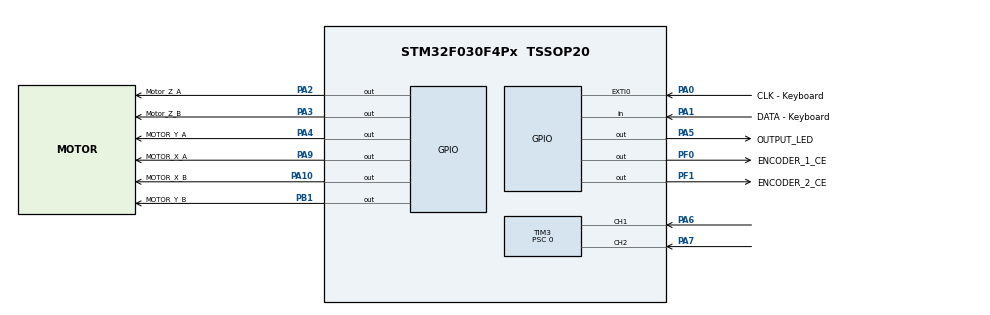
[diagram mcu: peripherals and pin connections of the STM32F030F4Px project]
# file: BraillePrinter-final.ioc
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Mcu.Family=STM32F0
Mcu.Name=STM32F030F4Px
Mcu.Package=TSSOP20
NVIC.EXTI0_1_IRQn=true\:0\:0\:false\:false\:true\:true
PA0.GPIO_Label=CLK - Keyboard
PA0.Signal=GPXTI0
PA1.GPIO_Label=DATA - Keyboard
PA1.Signal=GPIO_Input
PA10.GPIO_Label=MOTOR_X_B
PA10.Signal=GPIO_Output
PA13.Mode=Serial_Wire
PA13.Signal=SYS_SWDIO
PA14.Mode=Serial_Wire
PA14.Signal=SYS_SWCLK
PA2.GPIO_Label=Motor_Z_A
PA2.Signal=GPIO_Output
PA3.GPIO_Label=Motor_Z_B
PA3.Signal=GPIO_Output
PA4.GPIO_Label=MOTOR_Y_A
PA4.Signal=GPIO_Output
PA5.GPIO_Label=OUTPUT_LED
PA5.Signal=GPIO_Output
PA6.Signal=S_TIM3_CH1
PA7.Signal=S_TIM3_CH2
PA9.GPIO_Label=MOTOR_X_A
PA9.Signal=GPIO_Output
PB1.GPIO_Label=MOTOR_Y_B
PB1.Signal=GPIO_Output
PF0-OSC_IN.GPIO_Label=ENCODER_1_CE
PF0-OSC_IN.Signal=GPIO_Output
PF1-OSC_OUT.GPIO_Label=ENCODER_2_CE
PF1-OSC_OUT.Signal=GPIO_Output
ProjectManager.HeapSize=0x200
ProjectManager.StackSize=0x400
ProjectManager.TargetToolchain=TrueSTUDIO
SH.S_TIM3_CH1.0=TIM3_CH1,Encoder_Interface
SH.S_TIM3_CH2.0=TIM3_CH2,Encoder_Interface
TIM3.EncoderMode=TIM_ENCODERMODE_TI2
TIM3.IC1Filter=10
TIM3.IC1Polarity=TIM_ICPOLARITY_FALLING
TIM3.IC2Filter=10
TIM3.IC2Polarity=TIM_ICPOLARITY_FALLING
TIM3.Period=65535
TIM3.Prescaler=0
board=custom

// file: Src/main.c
/**
  ******************************************************************************
  * @file           : main.c
  * @brief          : Main program body
  ******************************************************************************
  ** This notice applies to any and all portions of this file
  * that are not between comment pairs USER CODE BEGIN and
  * USER CODE END. Other portions of this file, whether
  * inserted by the user or by software development tools
  * are owned by their respective copyright owners.
  *
  * COPYRIGHT(c) 2018 STMicroelectronics
  *
  * Redistribution and use in source and binary forms, with or without modification,
  * are permitted provided that the following conditions are met:
  *   1. Redistributions of source code must retain the above copyright notice,
  *      this list of conditions and the following disclaimer.
  *   2. Redistributions in binary form must reproduce the above copyright notice,
  *      this list of conditions and the following disclaimer in the documentation
  *      and/or other materials provided with the distribution.
  *   3. Neither the name of STMicroelectronics nor the names of its contributors
  *      may be used to endorse or promote products derived from this software
  *      without specific prior written permission.
  *
  * THIS SOFTWARE IS PROVIDED BY THE COPYRIGHT HOLDERS AND CONTRIBUTORS "AS IS"
  * AND ANY EXPRESS OR IMPLIED WARRANTIES, INCLUDING, BUT NOT LIMITED TO, THE
  * IMPLIED WARRANTIES OF MERCHANTABILITY AND FITNESS FOR A PARTICULAR PURPOSE ARE
  * DISCLAIMED. IN NO EVENT SHALL THE COPYRIGHT HOLDER OR CONTRIBUTORS BE LIABLE
  * FOR ANY DIRECT, INDIRECT, INCIDENTAL, SPECIAL, EXEMPLARY, OR CONSEQUENTIAL
  * DAMAGES (INCLUDING, BUT NOT LIMITED TO, PROCUREMENT OF SUBSTITUTE GOODS OR
  * SERVICES; LOSS OF USE, DATA, OR PROFITS; OR BUSINESS INTERRUPTION) HOWEVER
  * CAUSED AND ON ANY THEORY OF LIABILITY, WHETHER IN CONTRACT, STRICT LIABILITY,
  * OR TORT (INCLUDING NEGLIGENCE OR OTHERWISE) ARISING IN ANY WAY OUT OF THE USE
  * OF THIS SOFTWARE, EVEN IF ADVISED OF THE POSSIBILITY OF SUCH DAMAGE.
  *
  ******************************************************************************
  */
#include "main.h"
#include "stm32f0xx_hal.h"
#include "tim.h"
#include "gpio.h"

/* USER CODE BEGIN Includes */
#include "PS2Keyboard.h"
#include "brailleMatrix.h"
#include "DCMotors.h"
/* USER CODE END Includes */

/* USER CODE BEGIN PV */
/* Private variables ---------------------------------------------------------*/
#define MAX_CARACTERES 30
#define MAX_LINHAS 27
#define POS_INI 28000
#define POS_FIM 4000

char pressedEnter = 1;
char isEnd = 0;

Keyboard_TypeDef keyboard;

MotorControl_t motorX;
MotorControl_t motorY;

MotorControl_Simple_t motorZ;

unsigned char buffer_char[MAX_CARACTERES];
unsigned char buffer_braille[4];
/* USER CODE END PV */

void SystemClock_Config(void);

/* USER CODE BEGIN PFP */
/* Private function prototypes -----------------------------------------------*/
void interruption();
/* USER CODE END PFP */

/* USER CODE BEGIN 0 */
void interruption(){
	ps2interrupt(&keyboard);
}
/* USER CODE END 0 */

int main(void)
{

  /* MCU Configuration----------------------------------------------------------*/

  /* Reset of all peripherals, Initializes the Flash interface and the Systick. */
  HAL_Init();

  /* Configure the system clock */
  SystemClock_Config();

  /* Initialize all configured peripherals */
  MX_GPIO_Init();
  MX_TIM3_Init();
  /* USER CODE BEGIN 2 */
	HAL_TIM_Encoder_Start(&htim3, TIM_CHANNEL_ALL);

	motorBegin(&motorX, ENCODER_1_CE_GPIO_Port, ENCODER_1_CE_Pin, MOTOR_X_A_GPIO_Port, MOTOR_X_A_Pin, MOTOR_X_B_GPIO_Port, MOTOR_X_B_Pin);
	motorBegin(&motorY, ENCODER_1_CE_GPIO_Port, ENCODER_1_CE_Pin, MOTOR_Y_A_GPIO_Port, MOTOR_Y_A_Pin, MOTOR_Y_B_GPIO_Port, MOTOR_Y_B_Pin);

	motorSimpleBegin(&motorZ, Motor_Z_A_GPIO_Port, Motor_Z_A_Pin, Motor_Z_B_GPIO_Port, Motor_Z_B_Pin);

	keyboardBegin(&keyboard, PS2_DATA_PORT, PS2_DATA_PIN, PS2_IQR_PORT, PS2_IQR_PIN);
//	memset(buffer_char, 'o', sizeof(buffer_char));
//	buffer_char[MAX_CARACTERES - 1] = 0;

  /* USER CODE END 2 */

  /* Infinite loop */
  /* USER CODE BEGIN WHILE */
	while (1)
	{

		// ATENÇÂO
		// 1. Verificar se as conexões estão certas
		// 2. Vericiar se o encoder tá ligando na greenpill
		// 3. Entender para que lado rodar o motor para incrementar o contador no timer
		// 4. Entender para que lado rodar o motor para decrementar o contador no timer
		// 5. Se voltar a funcionar, descobrir DELTA_CHAR_V
		// 6. Separar DELTA_COL_LIN em DELTA_COL e DELTA_LIN, DELTA_COL é o atual DELTA_COL_LIN
		// 7. Descobrir DELTA_LIN
		// 8. Se quiser que o motor desça e ele ta subindo com -> updateAxis(&motorY, motorY.setPoint - DELTA_COL_LIN); Altera o sinal e vice-versa
		// 9. Descobrir quantos caracteres cabem na linha, determinando o numero máximo de linhas.
		// 10. Testar se tudo funciona junto
		// 11. FIM
		// Pode se basear a quantidade de fitas necessárias para encontrar DELTA_CHAR_V, DELTA_LIN, incrementando um valor fixo até chegar no fim da folha
		// Verificar o tanto em centímetros percorridos e fazer regra de três.
		// No eixo x, temos 25,5 cm para usar para imprimir. Fiz incrementos de 100 em 100 e obtive 30 incremento de 100, então
		//  25,5 cm ------ 30 * 100 fitas
		//    x cm  ------    x fitas necessárias, onde x é a distância que se deseja obter
		// Depois são ajustes para melhorar os espaçamentos
		// Verificar cuidadosamente se no eixo y não ta acontecendo overflow, o que eu acho que vai acontecer.

  /* USER CODE END WHILE */

  /* USER CODE BEGIN 3 */
		/* Faz a leitura do teclado e envia ao buffer_char */
		while(1){
			if(keyboardAvailable(&keyboard)){
				HAL_GPIO_WritePin(GPIOA, GPIO_PIN_5, GPIO_PIN_SET);
				HAL_Delay(50);
				HAL_GPIO_WritePin(GPIOA, GPIO_PIN_5, GPIO_PIN_RESET);
				uint8_t c = keyboardRead(&keyboard);
				if(c == PS2_ENTER){
					pressedEnter = 1;
					HAL_GPIO_WritePin(GPIOA, GPIO_PIN_5, GPIO_PIN_SET);
					break;
				}else if(c == PS2_DOWNARROW){
					updateAxis_Simple(&motorY, 50, DOWN);
				}else if(c == PS2_UPARROW){
					updateAxis_Simple(&motorY, 50, UP);
				}else if(c == PS2_BACKSPACE){
					clearBuffer(buffer_char);
				}else{

					feedBuffer(buffer_char, MAX_CARACTERES, c);
				}
				keyboardClear(&keyboard);
			}
		}
		/* Programa leitura do teclado */
		if(pressedEnter){
			//reverse(buffer_char);
			uint32_t length = strlen((const char*)buffer_char);
			for(int j=0;j<3;j++){
				//Imprime as linhas em braille
				if(j==1){
					//Linhas das matrizes
					for(int8_t i=length-1; i>=0; --i){

						// Recebe os pontos da linha para o caractere atual
						fillLineWithBraille(buffer_braille, j,buffer_char[i]);

						// Percorre os 4 bits, no máximo, para cada caractere
						for(int8_t x = 0; x < 2; ++x){

							// Passa para a próxima iteração se não tem ponto para furar
							if(buffer_braille[x] == '1'){
								pierce(&motorZ, PIERCE_TIME);
							}

							if(x != 1){
								updateAxis(&motorX, motorX.setPoint - DELTA_COL_LIN);
							}

							// Incrementa posição do eixo x, espaçamento entre colunas

						}

						// Incrementa posição do eixo x, espaçamento entre char na horizontal
						if(i != 0){
							updateAxis(&motorX, motorX.setPoint - DELTA_CHAR_H);
						}

					}

					// Decrementa posição do eixo y, espaçamento entre linhas
					//updateAxis(&motorY, motorY.setPoint - DELTA_COL_LIN);
					updateAxis_Simple(&motorY, NEXT_LINE, UP);
				}else{

					//Linhas das matrizes
					for(int8_t i=0; i<length; i++){

						//Recebe os pontos da linha para o caractere atual
						fillLineWithBraille(buffer_braille, j,buffer_char[i]);

						//Percorre os 4 bits, no máximo, para cada caractere
						for(int8_t x = 1; x >= 0; --x){

							if(buffer_braille[x] == '1'){
								pierce(&motorZ, PIERCE_TIME);
							}

							// Incrementa posição do eixo x, espaçamento entre colunas
							if(x != 0){
								updateAxis(&motorX, motorX.setPoint + DELTA_COL_LIN);
							}

						}

						// Incrementa posição do eixo x, espaçamento entre char na horizontal
						if(i != (length -1)){
							updateAxis(&motorX, motorX.setPoint + DELTA_CHAR_H);
						}

					}

					// Incrementa posição do eixo y, espaçamento entre linhas
					updateAxis_Simple(&motorY, NEXT_LINE, UP);
				}
			}

			// Incrementa posição do eixo y, espaçamento entre char na vertical
			//updateAxis(&motorY, motorY.setPoint + DELTA_CHAR_V - DELTA_COL_LIN);
			updateAxis_Simple(&motorY, NEXT_CHAR, UP);
			// Seta posição eixo x para inicial
			updateAxis(&motorX, POS_INI);

			pressedEnter = 0;
		}
		HAL_GPIO_WritePin(GPIOA, GPIO_PIN_5, GPIO_PIN_RESET);
		keyboardClear(&keyboard);
		clearBuffer(buffer_char);

	}
  /* USER CODE END 3 */

}

void SystemClock_Config(void)
{

  RCC_OscInitTypeDef RCC_OscInitStruct;
  RCC_ClkInitTypeDef RCC_ClkInitStruct;

    /**Initializes the CPU, AHB and APB busses clocks
    */
  RCC_OscInitStruct.OscillatorType = RCC_OSCILLATORTYPE_HSI;
  RCC_OscInitStruct.HSIState = RCC_HSI_ON;
  RCC_OscInitStruct.HSICalibrationValue = 16;
  RCC_OscInitStruct.PLL.PLLState = RCC_PLL_NONE;
  if (HAL_RCC_OscConfig(&RCC_OscInitStruct) != HAL_OK)
  {
    _Error_Handler(__FILE__, __LINE__);
  }

    /**Initializes the CPU, AHB and APB busses clocks
    */
  RCC_ClkInitStruct.ClockType = RCC_CLOCKTYPE_HCLK|RCC_CLOCKTYPE_SYSCLK
                              |RCC_CLOCKTYPE_PCLK1;
  RCC_ClkInitStruct.SYSCLKSource = RCC_SYSCLKSOURCE_HSI;
  RCC_ClkInitStruct.AHBCLKDivider = RCC_SYSCLK_DIV1;
  RCC_ClkInitStruct.APB1CLKDivider = RCC_HCLK_DIV1;

  if (HAL_RCC_ClockConfig(&RCC_ClkInitStruct, FLASH_LATENCY_0) != HAL_OK)
  {
    _Error_Handler(__FILE__, __LINE__);
  }

    /**Configure the Systick interrupt time
    */
  HAL_SYSTICK_Config(HAL_RCC_GetHCLKFreq()/1000);

    /**Configure the Systick
    */
  HAL_SYSTICK_CLKSourceConfig(SYSTICK_CLKSOURCE_HCLK);

  /* SysTick_IRQn interrupt configuration */
  HAL_NVIC_SetPriority(SysTick_IRQn, 0, 0);
}

void _Error_Handler(char *file, int line)
{
	while(1)
	{
	}
}

/************************ (C) COPYRIGHT STMicroelectronics *****END OF FILE****/
